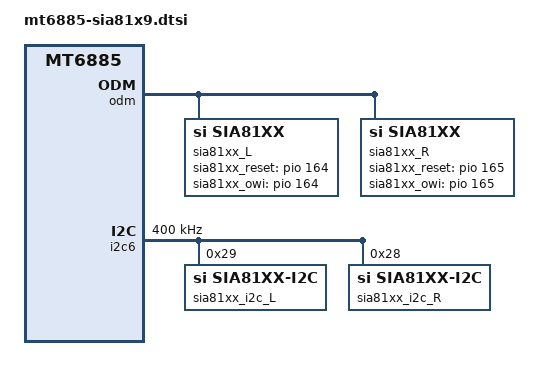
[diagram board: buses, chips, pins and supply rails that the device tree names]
/* Copyright (c) 2018, The Linux Foundation. All rights reserved.
 *
 * This program is free software; you can redistribute it and/or modify
 * it under the terms of the GNU General Public License version 2 and
 * only version 2 as published by the Free Software Foundation.
 *
 * This program is distributed in the hope that it will be useful,
 * but WITHOUT ANY WARRANTY; without even the implied warranty of
 * MERCHANTABILITY or FITNESS FOR A PARTICULAR PURPOSE.  See the
 * GNU General Public License for more details.
 */


&pio {
	sia81xx_gpio_L: sia81xx_gpio_L {
		pins_cmd_dat {
			pinmux = <PINMUX_GPIO164__FUNC_GPIO164>;
			
			slew-rate = <1>;
			bias-disable;
		};
	};
	
	sia81xx_gpio_R: sia81xx_gpio_R {
		pins_cmd_dat {
			pinmux = <PINMUX_GPIO165__FUNC_GPIO165>;
			
			slew-rate = <1>;
			bias-disable;
		};
	};
};

&odm {
	sia81xx_L: sia81xx@L {
		compatible = "si,sia81xx";
		si,sia81xx_type = "sia81x9";
		si,sia81xx_reset = <&pio 164 0>;
		si,sia81xx_owi = <&pio 164 0>;
		pinctrl-names = "sia81xx_gpio";
		pinctrl-0 = <&sia81xx_gpio_L>;
		
		si,sia81xx_disable_pin = <1>;
		
		/* the same value share a same task
		 * valid value range : 0 ~ 7 */
		timer_task_hdl = <0>;
		
		channel_num = <0>;
		owi_mode = <1>;
		en_x_filter = <0>;
		en_dynamic_updata_vdd = <0>;
		en_dynamic_updata_pvdd = <0>;
		dynamic_updata_vdd_port = <0x2>;
	};

	sia81xx_R: sia81xx@R {
		compatible = "si,sia81xx";
		si,sia81xx_type = "sia81x9";
		si,sia81xx_reset = <&pio 165 0>;
		si,sia81xx_owi = <&pio 165 0>;
		pinctrl-names = "sia81xx_gpio";
		pinctrl-0 = <&sia81xx_gpio_R>;
		
		si,sia81xx_disable_pin = <1>;

		/* the same value share a same task
		 * valid value range : 0 ~ 7 */
		timer_task_hdl = <0>;
		
		channel_num = <1>;
		owi_mode = <1>;
		en_x_filter = <0>;
		en_dynamic_updata_vdd = <0>;
		en_dynamic_updata_pvdd = <0>;
		dynamic_updata_vdd_port = <0x2>;
	};
};

&sound {
	si,sia81xx-max-num = <2>;
	si,sia81xx-aux-devs = <&sia81xx_L>, <&sia81xx_R>;
	si,sia81xx-aux-devs-prefix = "SpkrLeft", "SpkrRight";
};

&i2c6 {
	#address-cells = <1>;
	#size-cells = <0>;
	clock-frequency = <400000>;
	mediatek,use-open-drain;
	
	sia81xx_i2c_L: sia81xx_i2c@L {
		compatible = "si,sia81xx-i2c";
		reg = <0x29>;
		si,sia81xx-dev = <&sia81xx_L>;
	};
	
	sia81xx_i2c_R: sia81xx_i2c@R {
		compatible = "si,sia81xx-i2c";
		reg = <0x28>;
		si,sia81xx-dev = <&sia81xx_R>;
	};
};

